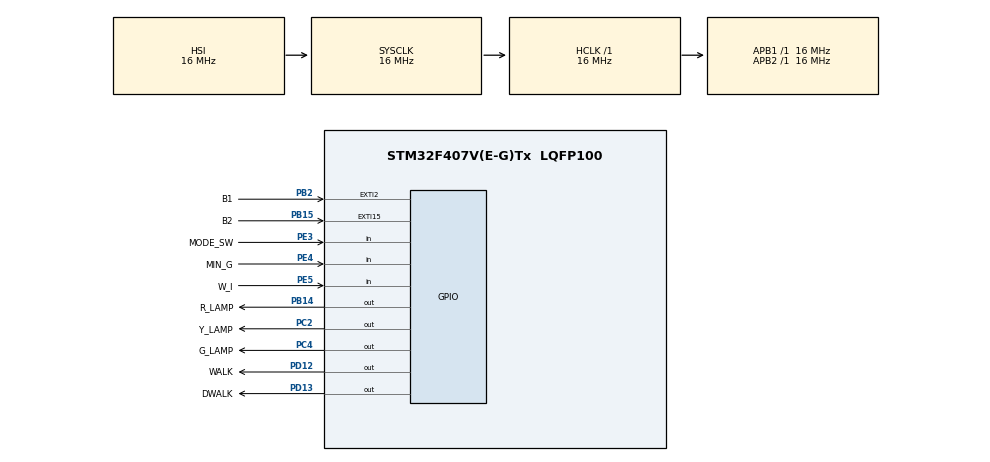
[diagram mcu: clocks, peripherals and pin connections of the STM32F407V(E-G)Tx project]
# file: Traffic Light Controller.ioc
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Mcu.Family=STM32F4
Mcu.Name=STM32F407V(E-G)Tx
Mcu.Package=LQFP100
NVIC.EXTI15_10_IRQn=true\:0\:0\:false\:false\:true\:true\:true
NVIC.EXTI2_IRQn=true\:0\:0\:false\:false\:true\:true\:true
NVIC.PriorityGroup=NVIC_PRIORITYGROUP_4
PA13.Mode=Serial_Wire
PA13.Signal=SYS_JTMS-SWDIO
PA14.Mode=Serial_Wire
PA14.Signal=SYS_JTCK-SWCLK
PB14.GPIO_Label=R_LAMP
PB14.Signal=GPIO_Output
PB15.GPIO_Label=B2
PB15.GPIO_ModeDefaultEXTI=GPIO_MODE_IT_FALLING
PB15.Signal=GPXTI15
PB2.GPIO_Label=B1
PB2.GPIO_ModeDefaultEXTI=GPIO_MODE_IT_FALLING
PB2.Signal=GPXTI2
PC2.GPIO_Label=Y_LAMP
PC2.Signal=GPIO_Output
PC4.GPIO_Label=G_LAMP
PC4.Signal=GPIO_Output
PD12.GPIO_Label=WALK
PD12.Signal=GPIO_Output
PD13.GPIO_Label=DWALK
PD13.Signal=GPIO_Output
PE3.GPIO_Label=MODE_SW
PE3.Signal=GPIO_Input
PE4.GPIO_Label=MIN_G
PE4.Signal=GPIO_Input
PE5.GPIO_Label=W_I
PE5.Signal=GPIO_Input
ProjectManager.HeapSize=0x200
ProjectManager.StackSize=0x400
ProjectManager.TargetToolchain=MDK-ARM V5
RCC.AHBFreq_Value=16000000
RCC.APB1Freq_Value=16000000
RCC.APB2Freq_Value=16000000
RCC.CortexFreq_Value=16000000
RCC.HSE_VALUE=25000000
RCC.HSI_VALUE=16000000
RCC.LSE_VALUE=32768
RCC.SYSCLKFreq_VALUE=16000000
RCC.VCOOutputFreq_Value=192000000
board=custom

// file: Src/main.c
/* USER CODE BEGIN Header */
/**
  ******************************************************************************
  * @file           : main.c
  * @brief          : Main program body
  ******************************************************************************
  * @attention
  *
  * <h2><center>&copy; Copyright (c) 2019 STMicroelectronics.
  * All rights reserved.</center></h2>
  *
  * This software component is licensed by ST under BSD 3-Clause license,
  * the "License"; You may not use this file except in compliance with the
  * License. You may obtain a copy of the License at:
  *                        opensource.org/licenses/BSD-3-Clause
  *
  ******************************************************************************
  */
/* USER CODE END Header */

#include "main.h"

/* USER CODE BEGIN Includes */
#include "ctrler.h"
#include "bsp.h"
#include "timer.h"
#include "main.h"
#include <stdio.h>
/* USER CODE END Includes */

/* USER CODE BEGIN PV */
int B1 = 0;
int B2 = 0;
/* USER CODE END PV */

void SystemClock_Config(void);
static void MX_GPIO_Init(void);

/* USER CODE BEGIN 0 */
int fputc(int ch, FILE *f){
		return ITM_SendChar(ch);
}
Event_t Event_Detect(){
			Event_t evt = NO_EVT;
		if(MODE_READ() != SET){
			if(Timeout_Status){
					evt = TIMEOUT;
					Timeout_Status = 0;
			}
			if(B1 || B2){
					evt = BUTTON;
					B1 = 0;
					B2 = 0;
			}
		}else{
			evt = MODE_CHANGE;
			}
			return evt;
}
/* USER CODE END 0 */

int main(void)
{

  /* MCU Configuration--------------------------------------------------------*/

  /* Reset of all peripherals, Initializes the Flash interface and the Systick. */
  HAL_Init();

  /* Configure the system clock */
  SystemClock_Config();

  /* Initialize all configured peripherals */
  MX_GPIO_Init();

  /* Infinite loop */
  while (1)
  {

    /* USER CODE BEGIN 3 */
		Event_t evt = Event_Detect();
    uint32_t timeout_value = Ctrler_Exec(evt);
    Timeout_Config(timeout_value);
    Delay(1);
  }
  /* USER CODE END 3 */
}

void SystemClock_Config(void)
{
  RCC_OscInitTypeDef RCC_OscInitStruct = {0};
  RCC_ClkInitTypeDef RCC_ClkInitStruct = {0};

  /** Configure the main internal regulator output voltage
  */
  __HAL_RCC_PWR_CLK_ENABLE();
  __HAL_PWR_VOLTAGESCALING_CONFIG(PWR_REGULATOR_VOLTAGE_SCALE1);
  /** Initializes the CPU, AHB and APB busses clocks
  */
  RCC_OscInitStruct.OscillatorType = RCC_OSCILLATORTYPE_HSI;
  RCC_OscInitStruct.HSIState = RCC_HSI_ON;
  RCC_OscInitStruct.HSICalibrationValue = RCC_HSICALIBRATION_DEFAULT;
  RCC_OscInitStruct.PLL.PLLState = RCC_PLL_NONE;
  if (HAL_RCC_OscConfig(&RCC_OscInitStruct) != HAL_OK)
  {
    Error_Handler();
  }
  /** Initializes the CPU, AHB and APB busses clocks
  */
  RCC_ClkInitStruct.ClockType = RCC_CLOCKTYPE_HCLK|RCC_CLOCKTYPE_SYSCLK
                              |RCC_CLOCKTYPE_PCLK1|RCC_CLOCKTYPE_PCLK2;
  RCC_ClkInitStruct.SYSCLKSource = RCC_SYSCLKSOURCE_HSI;
  RCC_ClkInitStruct.AHBCLKDivider = RCC_SYSCLK_DIV1;
  RCC_ClkInitStruct.APB1CLKDivider = RCC_HCLK_DIV1;
  RCC_ClkInitStruct.APB2CLKDivider = RCC_HCLK_DIV1;

  if (HAL_RCC_ClockConfig(&RCC_ClkInitStruct, FLASH_LATENCY_0) != HAL_OK)
  {
    Error_Handler();
  }
}

static void MX_GPIO_Init(void)
{
  GPIO_InitTypeDef GPIO_InitStruct = {0};

  /* GPIO Ports Clock Enable */
  __HAL_RCC_GPIOE_CLK_ENABLE();
  __HAL_RCC_GPIOC_CLK_ENABLE();
  __HAL_RCC_GPIOB_CLK_ENABLE();
  __HAL_RCC_GPIOD_CLK_ENABLE();
  __HAL_RCC_GPIOA_CLK_ENABLE();

  /*Configure GPIO pin Output Level */
  HAL_GPIO_WritePin(GPIOC, Y_LAMP_Pin|G_LAMP_Pin, GPIO_PIN_RESET);

  /*Configure GPIO pin Output Level */
  HAL_GPIO_WritePin(R_LAMP_GPIO_Port, R_LAMP_Pin, GPIO_PIN_RESET);

  /*Configure GPIO pin Output Level */
  HAL_GPIO_WritePin(GPIOD, WALK_Pin|DWALK_Pin, GPIO_PIN_RESET);

  /*Configure GPIO pins : MODE_SW_Pin MIN_G_Pin W_I_Pin */
  GPIO_InitStruct.Pin = MODE_SW_Pin|MIN_G_Pin|W_I_Pin;
  GPIO_InitStruct.Mode = GPIO_MODE_INPUT;
  GPIO_InitStruct.Pull = GPIO_NOPULL;
  HAL_GPIO_Init(GPIOE, &GPIO_InitStruct);

  /*Configure GPIO pins : Y_LAMP_Pin G_LAMP_Pin */
  GPIO_InitStruct.Pin = Y_LAMP_Pin|G_LAMP_Pin;
  GPIO_InitStruct.Mode = GPIO_MODE_OUTPUT_PP;
  GPIO_InitStruct.Pull = GPIO_NOPULL;
  GPIO_InitStruct.Speed = GPIO_SPEED_FREQ_LOW;
  HAL_GPIO_Init(GPIOC, &GPIO_InitStruct);

  /*Configure GPIO pins : B1_Pin B2_Pin */
  GPIO_InitStruct.Pin = B1_Pin|B2_Pin;
  GPIO_InitStruct.Mode = GPIO_MODE_IT_FALLING;
  GPIO_InitStruct.Pull = GPIO_NOPULL;
  HAL_GPIO_Init(GPIOB, &GPIO_InitStruct);

  /*Configure GPIO pin : R_LAMP_Pin */
  GPIO_InitStruct.Pin = R_LAMP_Pin;
  GPIO_InitStruct.Mode = GPIO_MODE_OUTPUT_PP;
  GPIO_InitStruct.Pull = GPIO_NOPULL;
  GPIO_InitStruct.Speed = GPIO_SPEED_FREQ_LOW;
  HAL_GPIO_Init(R_LAMP_GPIO_Port, &GPIO_InitStruct);

  /*Configure GPIO pins : WALK_Pin DWALK_Pin */
  GPIO_InitStruct.Pin = WALK_Pin|DWALK_Pin;
  GPIO_InitStruct.Mode = GPIO_MODE_OUTPUT_PP;
  GPIO_InitStruct.Pull = GPIO_NOPULL;
  GPIO_InitStruct.Speed = GPIO_SPEED_FREQ_LOW;
  HAL_GPIO_Init(GPIOD, &GPIO_InitStruct);

  /* EXTI interrupt init*/
  HAL_NVIC_SetPriority(EXTI2_IRQn, 0, 0);
  HAL_NVIC_EnableIRQ(EXTI2_IRQn);

  HAL_NVIC_SetPriority(EXTI15_10_IRQn, 0, 0);
  HAL_NVIC_EnableIRQ(EXTI15_10_IRQn);

}

void Error_Handler(void)
{
}

/************************ (C) COPYRIGHT STMicroelectronics *****END OF FILE****/
